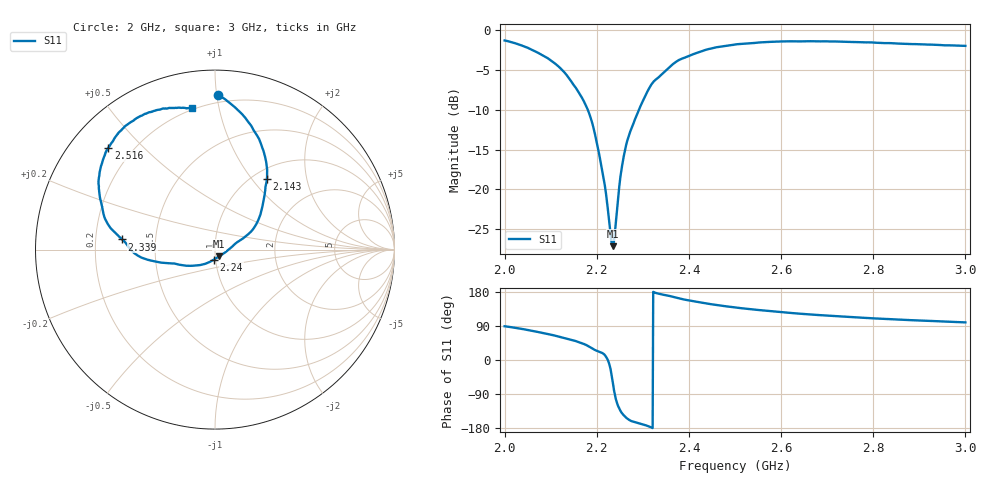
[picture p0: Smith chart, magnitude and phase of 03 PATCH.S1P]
!Agilent Technologies,E5071C,MY46105125,A.08.12
!Date: Tue Sep 16 09:39:24 2014
!Data & Calibration Information:
!Freq	S11:SOLT1(ON)
# Hz S RI R 50
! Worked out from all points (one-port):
!   801 points, 2 GHz to 3 GHz, reference 50 ohm
!   lowest |S11| = -27.1 dB at 2.235 GHz (marker M1), VSWR 1.09, Z = 52 - j3.99 ohm
!   |S11| at or under -10 dB: 2.181 GHz to 2.291 GHz (110.9 MHz wide, 4.96 % of centre)
!   S11 on the Smith chart (normalised r, x): 2 GHz: 0.15, +1.01; 2.143 GHz: 1.16, +1.19; 2.24 GHz: 0.98, -0.11; 2.339 GHz: 0.32, +0.05; 2.516 GHz: 0.11, +0.40; 3 GHz: 0.19, +0.83
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2e9  0.0148 0.8616
2.055e9  0.1575 0.7468
2.09125e9  0.238 0.6295
2.125e9  0.2855 0.4833
2.1425e9  0.2885 0.3913
2.17375e9  0.2617 0.2306
2.19125e9  0.2206 0.1261
2.20125e9  0.1733 0.0764
2.21375e9  0.1165 0.0357
2.22e9  0.093 0.0141
2.23e9  0.0472 -0.0214
2.235e9  0.0216 -0.0383
2.2375e9  0.00798 -0.0471
2.24e9  -0.00593 -0.0557
2.25e9  -0.0736 -0.0843
2.255e9  -0.1092 -0.0889
2.26125e9  -0.1515 -0.0905
2.27625e9  -0.2328 -0.077
2.31375e9  -0.4307 -0.0331
2.33875e9  -0.5174 0.0567
2.375e9  -0.6149 0.1787
2.435e9  -0.6489 0.3755
2.5e9  -0.6116 0.5342
2.51625e9  -0.5935 0.5672
2.625e9  -0.4734 0.7074
2.75e9  -0.3348 0.774
2.875e9  -0.219 0.7899
3e9  -0.128 0.7862
